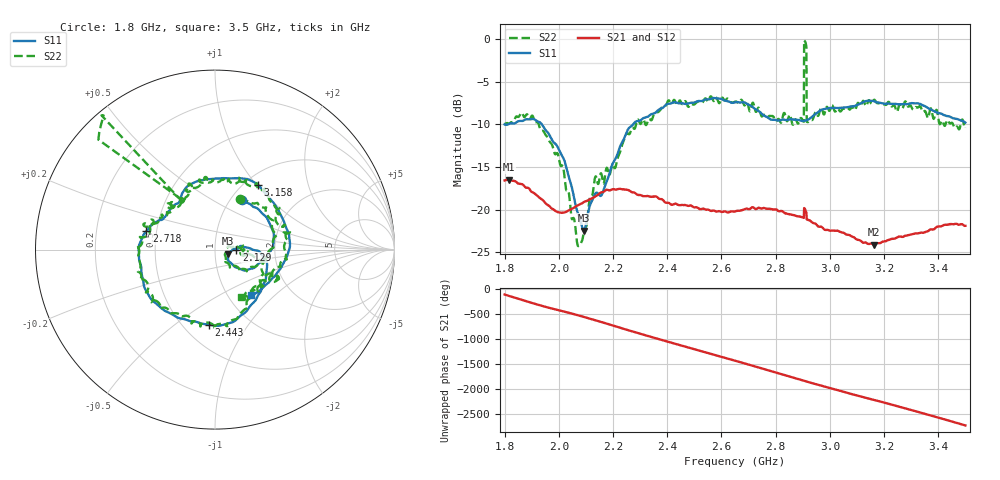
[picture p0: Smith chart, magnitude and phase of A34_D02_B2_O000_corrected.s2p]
! Created with skrf 1.9.0 (http://scikit-rf.org).
# Hz S RI R 50.0
!freq ReS11 ImS11 ReS21 ImS21 ReS12 ImS12 ReS22 ImS22
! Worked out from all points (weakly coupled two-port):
!   1601 points, 1.8 GHz to 3.5 GHz, reference 50 ohm
!   highest |S21| = -16.52 dB at 1.817 GHz (marker M1); lowest = -24.1 dB at 3.162 GHz (marker M2)
!   lowest |S11| = -22.5 dB at 2.093 GHz (marker M3), VSWR 1.16, Z = 57.7 - j2.66 ohm
!   |S11| at or under -10 dB: start of sweep to 1.814 GHz; 1.937 GHz to 2.274 GHz (337.1 MHz wide, 16 % of centre)
!   |S22| runs from -24.3 to -0.2 dB; largest |S21 - S12| = 0.0025
!   S11 on the Smith chart (normalised r, x): 1.8 GHz: 1.12, +0.69; 2.129 GHz: 1.27, -0.00; 2.443 GHz: 0.66, -0.67; 2.718 GHz: 0.44, +0.11; 3.158 GHz: 1.14, +1.02; 3.5 GHz: 1.26, -0.72
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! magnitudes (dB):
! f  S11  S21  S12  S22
! 1.8 GHz  -10.0  -16.6  -16.6  -10.0
! 1.817 GHz  -10.0  -16.5  -16.5  -9.9
! 1.953 GHz  -10.8  -19.3  -19.3  -11.3
! 2.019 GHz  -14.1  -20.4  -20.4  -15.6
! 2.07 GHz  -20.4  -19.5  -19.5  -24.2
! 2.084 GHz  -21.8  -19.3  -19.3  -23.8
! 2.093 GHz  -22.5  -19.1  -19.2  -22.6
! 2.129 GHz  -18.5  -18.6  -18.6  -17.1
! 2.259 GHz  -10.4  -17.7  -17.8  -11.2
! 2.367 GHz  -8.3  -18.7  -18.6  -8.6
! 2.443 GHz  -7.6  -19.5  -19.5  -7.4
! 2.65 GHz  -7.4  -20.2  -20.2  -7.4
! 2.718 GHz  -8.1  -19.8  -19.7  -7.6
! 2.895 GHz  -9.6  -20.9  -20.9  -9.3
! 2.905 GHz  -9.6  -19.8  -19.8  -0.2
! 2.913 GHz  -9.5  -20.4  -20.4  -1.0
! 2.923 GHz  -9.4  -21.2  -21.2  -9.7
! 2.934 GHz  -9.1  -21.5  -21.5  -9.5
! 3.158 GHz  -7.3  -24.1  -24.0  -7.4
! 3.162 GHz  -7.3  -24.1  -24.1  -7.2
! 3.217 GHz  -7.6  -23.6  -23.5  -7.4
! 3.5 GHz  -9.8  -21.9  -21.9  -10.4
